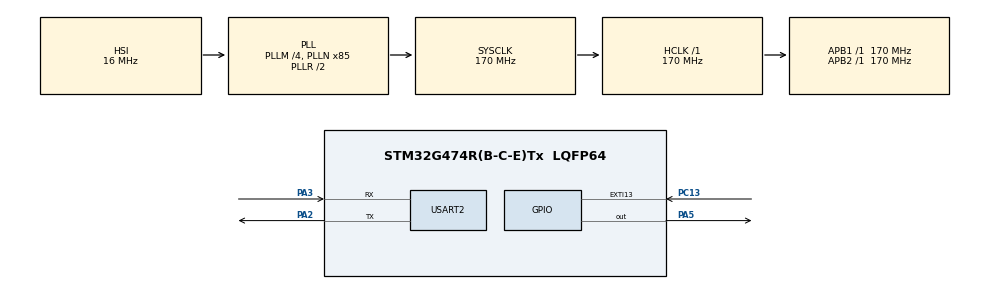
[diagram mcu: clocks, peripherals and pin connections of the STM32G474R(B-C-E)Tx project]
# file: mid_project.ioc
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Mcu.Family=STM32G4
Mcu.Name=STM32G474R(B-C-E)Tx
Mcu.Package=LQFP64
NVIC.EXTI15_10_IRQn=true\:0\:0\:false\:false\:true\:true\:true\:true
NVIC.PriorityGroup=NVIC_PRIORITYGROUP_4
NVIC.USART2_IRQn=true\:0\:0\:false\:false\:true\:true\:true\:true
PA13.GPIO_Label=T_SWDIO
PA13.Signal=SYS_JTMS-SWDIO
PA14.GPIO_Label=T_SWCLK
PA14.Signal=SYS_JTCK-SWCLK
PA2.Mode=Asynchronous
PA2.Signal=USART2_TX
PA3.Mode=Asynchronous
PA3.Signal=USART2_RX
PA5.Signal=GPIO_Output
PB3.GPIO_Label=T_SWO
PB3.Signal=SYS_JTDO-SWO
PC13.Signal=GPXTI13
PC14-OSC32_IN.GPIO_Label=RCC_OSC32_IN
PC14-OSC32_IN.Signal=RCC_OSC32_IN
PC15-OSC32_OUT.GPIO_Label=RCC_OSC32_OUT
PC15-OSC32_OUT.Signal=RCC_OSC32_OUT
PF0-OSC_IN.GPIO_Label=RCC_OSC_IN
PF0-OSC_IN.Signal=RCC_OSC_IN
PF1-OSC_OUT.GPIO_Label=RCC_OSC_OUT
PF1-OSC_OUT.Signal=RCC_OSC_OUT
ProjectManager.HeapSize=0x200
ProjectManager.StackSize=0x400
ProjectManager.TargetToolchain=STM32CubeIDE
RCC.ADC12Freq_Value=170000000
RCC.ADC345Freq_Value=170000000
RCC.AHBFreq_Value=170000000
RCC.APB1Freq_Value=170000000
RCC.APB1TimFreq_Value=170000000
RCC.APB2Freq_Value=170000000
RCC.APB2TimFreq_Value=170000000
RCC.CortexFreq_Value=170000000
RCC.EXTERNAL_CLOCK_VALUE=12288000
RCC.HCLKFreq_Value=170000000
RCC.HSE_VALUE=24000000
RCC.HSI48_VALUE=48000000
RCC.HSI_VALUE=16000000
RCC.LSE_VALUE=32768
RCC.PLLM=RCC_PLLM_DIV4
RCC.PLLN=85
RCC.RTCClockSelection=RCC_RTCCLKSOURCE_LSE
RCC.SYSCLKFreq_VALUE=170000000
RCC.SYSCLKSource=RCC_SYSCLKSOURCE_PLLCLK
RCC.USBFreq_Value=170000000
RCC.VCOOutputFreq_Value=340000000
USART2.VirtualMode-Asynchronous=VM_ASYNC
VP_SYS_VS_DBSignals.Mode=DisableDeadBatterySignals
board=NUCLEO-G474RE

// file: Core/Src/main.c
/* USER CODE BEGIN Header */
/**
  ******************************************************************************
  * @file           : main.c
  * @brief          : Main program body
  ******************************************************************************
  * @attention
  *
  * Copyright (c) 2026 STMicroelectronics.
  * All rights reserved.
  *
  ******************************************************************************
  */
/* USER CODE END Header */
#include "main.h"

/* USER CODE BEGIN Includes */

#include <stdio.h>
#include <string.h>

/* USER CODE END Includes */

/* USER CODE BEGIN PD */

#define RX_BUF_SIZE    128
#define LINE_BUF_SIZE  32

#define MORSE_UNIT     200

/* USER CODE END PD */

UART_HandleTypeDef huart2;

/* USER CODE BEGIN PV */

uint8_t rx_byte;

volatile uint8_t rx_buf[RX_BUF_SIZE];
volatile uint16_t rx_head = 0;
volatile uint16_t rx_tail = 0;

char line_buf[LINE_BUF_SIZE];
uint8_t line_index = 0;

char current_word[LINE_BUF_SIZE] = "";

volatile uint8_t replay_request = 0;

volatile uint32_t last_button_time = 0;

const char *morse_table[26] =
{
    ".-",
    "-...",
    "-.-.",
    "-..",
    ".",
    "..-.",
    "--.",
    "....",
    "..",
    ".---",
    "-.-",
    ".-..",
    "--",
    "-.",
    "---",
    ".--.",
    "--.-",
    ".-.",
    "...",
    "-",
    "..-",
    "...-",
    ".--",
    "-..-",
    "-.--",
    "--.."
};
/* USER CODE END PV */

void SystemClock_Config(void);
static void MX_GPIO_Init(void);
static void MX_USART2_UART_Init(void);
/* USER CODE BEGIN PFP */

uint8_t UART_ReadByte(uint8_t *data);

void Morse_PlaySymbol(char symbol);
void Morse_PlayWord(const char *word);

/* USER CODE END PFP */

/* USER CODE BEGIN 0 */

void Morse_PlaySymbol(char symbol)
{

    HAL_GPIO_WritePin(
        GPIOA,
        GPIO_PIN_5,
        GPIO_PIN_SET
    );

    if (symbol == '.')
    {
        HAL_Delay(MORSE_UNIT);
    }

    else if (symbol == '-')
    {
        HAL_Delay(MORSE_UNIT * 3);
    }

    HAL_GPIO_WritePin(
        GPIOA,
        GPIO_PIN_5,
        GPIO_PIN_RESET
    );

    HAL_Delay(MORSE_UNIT);
}

void Morse_PlayWord(const char *word)
{
    uint16_t i;

    for (i = 0; word[i] != '\0'; i++)
    {
        char c = word[i];

        if (c >= 'a' && c <= 'z')
        {
            c = c - 'a' + 'A';
        }

        if (c >= 'A' && c <= 'Z')
        {
            const char *code;

            code = morse_table[c - 'A'];

            for (uint8_t j = 0;
                 code[j] != '\0';
                 j++)
            {
                Morse_PlaySymbol(code[j]);
            }

            HAL_Delay(MORSE_UNIT * 2);
        }
    }
}

uint8_t UART_ReadByte(uint8_t *data)
{

    if (rx_head == rx_tail)
    {
        return 0;
    }

    *data = rx_buf[rx_tail];

    rx_tail = (rx_tail + 1) % RX_BUF_SIZE;

    return 1;
}

void HAL_UART_RxCpltCallback(UART_HandleTypeDef *huart)
{
    if (huart->Instance == USART2)
    {
        uint16_t next_head;

        next_head = (rx_head + 1) % RX_BUF_SIZE;

        if (next_head != rx_tail)
        {

            rx_buf[rx_head] = rx_byte;

            rx_head = next_head;
        }

        HAL_UART_Receive_IT(&huart2, &rx_byte, 1);
    }
}

int main(void)
{

  /* MCU Configuration--------------------------------------------------------*/

  /* Reset of all peripherals, Initializes the Flash interface and the Systick. */
  HAL_Init();

  /* Configure the system clock */
  SystemClock_Config();

  /* Initialize all configured peripherals */
  MX_GPIO_Init();
  MX_USART2_UART_Init();
  /* USER CODE BEGIN 2 */

    HAL_UART_Receive_IT(&huart2, &rx_byte, 1);

    const char start_message[] = "STM32 UART READY\r\n";

    HAL_UART_Transmit(
        &huart2,
        (uint8_t *)start_message,
        strlen(start_message),
        HAL_MAX_DELAY
    );

  /* USER CODE END 2 */

  /* Infinite loop */
  /* USER CODE BEGIN WHILE */

    while (1)
    {
        uint8_t data;

        if (replay_request)
        {
            replay_request = 0;

            if (current_word[0] != '\0')
            {
                const char replay_msg[] = "REPLAY\r\n";

                HAL_UART_Transmit(
                    &huart2,
                    (uint8_t *)replay_msg,
                    strlen(replay_msg),
                    HAL_MAX_DELAY
                );

                Morse_PlayWord(current_word);

                const char done_msg[] = "DONE\r\n";

                HAL_UART_Transmit(
                    &huart2,
                    (uint8_t *)done_msg,
                    strlen(done_msg),
                    HAL_MAX_DELAY
                );
            }
        }

        if (UART_ReadByte(&data))
        {

            if (data == '\n')
            {

                line_buf[line_index] = '\0';

                if (line_index > 0)
                {
                    char message[64];

                    snprintf(
                        message,
                        sizeof(message),
                        "RX: %s\r\n",
                        line_buf
                    );

                    HAL_UART_Transmit(
                        &huart2,
                        (uint8_t *)message,
                        strlen(message),
                        HAL_MAX_DELAY
                    );

                    strncpy(
                        current_word,
                        line_buf,
                        LINE_BUF_SIZE - 1
                    );

                    current_word[LINE_BUF_SIZE - 1] = '\0';

                    const char playing_msg[] = "PLAYING\r\n";

                    HAL_UART_Transmit(
                        &huart2,
                        (uint8_t *)playing_msg,
                        strlen(playing_msg),
                        HAL_MAX_DELAY
                    );

                    Morse_PlayWord(current_word);

                    const char done_msg[] = "DONE\r\n";

                    HAL_UART_Transmit(
                        &huart2,
                        (uint8_t *)done_msg,
                        strlen(done_msg),
                        HAL_MAX_DELAY
                    );
                }

                line_index = 0;
            }

            else if (data != '\r')
            {

                if (line_index < LINE_BUF_SIZE - 1)
                {
                    line_buf[line_index] = data;
                    line_index++;
                }
            }
        }

    /* USER CODE END WHILE */

    }
}

void SystemClock_Config(void)
{
  RCC_OscInitTypeDef RCC_OscInitStruct = {0};
  RCC_ClkInitTypeDef RCC_ClkInitStruct = {0};

  /** Configure the main internal regulator output voltage
  */
  HAL_PWREx_ControlVoltageScaling(PWR_REGULATOR_VOLTAGE_SCALE1_BOOST);

  /** Initializes the RCC Oscillators according to the specified parameters
  * in the RCC_OscInitTypeDef structure.
  */
  RCC_OscInitStruct.OscillatorType = RCC_OSCILLATORTYPE_HSI;
  RCC_OscInitStruct.HSIState = RCC_HSI_ON;
  RCC_OscInitStruct.HSICalibrationValue = RCC_HSICALIBRATION_DEFAULT;
  RCC_OscInitStruct.PLL.PLLState = RCC_PLL_ON;
  RCC_OscInitStruct.PLL.PLLSource = RCC_PLLSOURCE_HSI;
  RCC_OscInitStruct.PLL.PLLM = RCC_PLLM_DIV4;
  RCC_OscInitStruct.PLL.PLLN = 85;
  RCC_OscInitStruct.PLL.PLLP = RCC_PLLP_DIV2;
  RCC_OscInitStruct.PLL.PLLQ = RCC_PLLQ_DIV2;
  RCC_OscInitStruct.PLL.PLLR = RCC_PLLR_DIV2;
  if (HAL_RCC_OscConfig(&RCC_OscInitStruct) != HAL_OK)
  {
    Error_Handler();
  }

  /** Initializes the CPU, AHB and APB buses clocks
  */
  RCC_ClkInitStruct.ClockType = RCC_CLOCKTYPE_HCLK|RCC_CLOCKTYPE_SYSCLK
                              |RCC_CLOCKTYPE_PCLK1|RCC_CLOCKTYPE_PCLK2;
  RCC_ClkInitStruct.SYSCLKSource = RCC_SYSCLKSOURCE_PLLCLK;
  RCC_ClkInitStruct.AHBCLKDivider = RCC_SYSCLK_DIV1;
  RCC_ClkInitStruct.APB1CLKDivider = RCC_HCLK_DIV1;
  RCC_ClkInitStruct.APB2CLKDivider = RCC_HCLK_DIV1;

  if (HAL_RCC_ClockConfig(&RCC_ClkInitStruct, FLASH_LATENCY_4) != HAL_OK)
  {
    Error_Handler();
  }
}

static void MX_USART2_UART_Init(void)
{

  huart2.Instance = USART2;
  huart2.Init.BaudRate = 115200;
  huart2.Init.WordLength = UART_WORDLENGTH_8B;
  huart2.Init.StopBits = UART_STOPBITS_1;
  huart2.Init.Parity = UART_PARITY_NONE;
  huart2.Init.Mode = UART_MODE_TX_RX;
  huart2.Init.HwFlowCtl = UART_HWCONTROL_NONE;
  huart2.Init.OverSampling = UART_OVERSAMPLING_16;
  huart2.Init.OneBitSampling = UART_ONE_BIT_SAMPLE_DISABLE;
  huart2.Init.ClockPrescaler = UART_PRESCALER_DIV1;
  huart2.AdvancedInit.AdvFeatureInit = UART_ADVFEATURE_NO_INIT;
  if (HAL_UART_Init(&huart2) != HAL_OK)
  {
    Error_Handler();
  }
  if (HAL_UARTEx_SetTxFifoThreshold(&huart2, UART_TXFIFO_THRESHOLD_1_8) != HAL_OK)
  {
    Error_Handler();
  }
  if (HAL_UARTEx_SetRxFifoThreshold(&huart2, UART_RXFIFO_THRESHOLD_1_8) != HAL_OK)
  {
    Error_Handler();
  }
  if (HAL_UARTEx_DisableFifoMode(&huart2) != HAL_OK)
  {
    Error_Handler();
  }

}

static void MX_GPIO_Init(void)
{
  GPIO_InitTypeDef GPIO_InitStruct = {0};

  /* GPIO Ports Clock Enable */
  __HAL_RCC_GPIOC_CLK_ENABLE();
  __HAL_RCC_GPIOF_CLK_ENABLE();
  __HAL_RCC_GPIOA_CLK_ENABLE();
  __HAL_RCC_GPIOB_CLK_ENABLE();

  /*Configure GPIO pin Output Level */
  HAL_GPIO_WritePin(GPIOA, GPIO_PIN_5, GPIO_PIN_RESET);

  /*Configure GPIO pin : PC13 */
  GPIO_InitStruct.Pin = GPIO_PIN_13;
  GPIO_InitStruct.Mode = GPIO_MODE_IT_RISING;
  GPIO_InitStruct.Pull = GPIO_NOPULL;
  HAL_GPIO_Init(GPIOC, &GPIO_InitStruct);

  /*Configure GPIO pin : PA5 */
  GPIO_InitStruct.Pin = GPIO_PIN_5;
  GPIO_InitStruct.Mode = GPIO_MODE_OUTPUT_PP;
  GPIO_InitStruct.Pull = GPIO_NOPULL;
  GPIO_InitStruct.Speed = GPIO_SPEED_FREQ_LOW;
  HAL_GPIO_Init(GPIOA, &GPIO_InitStruct);

  /* EXTI interrupt init*/
  HAL_NVIC_SetPriority(EXTI15_10_IRQn, 0, 0);
  HAL_NVIC_EnableIRQ(EXTI15_10_IRQn);

}

/* USER CODE BEGIN 4 */

void HAL_GPIO_EXTI_Callback(uint16_t GPIO_Pin)
{
    if (GPIO_Pin == GPIO_PIN_13)
    {
        uint32_t now = HAL_GetTick();

        if (now - last_button_time >= 50)
        {
            last_button_time = now;

            replay_request = 1;
        }
    }
}
/* USER CODE END 4 */

void Error_Handler(void)
{
    __disable_irq();
    while (1)
    {
    }
}
